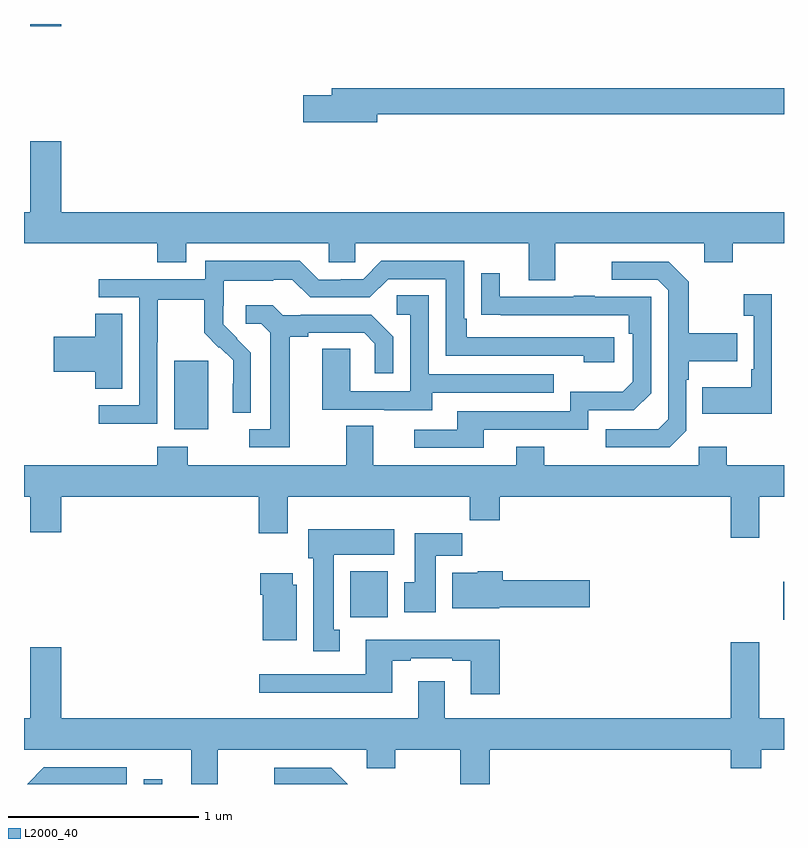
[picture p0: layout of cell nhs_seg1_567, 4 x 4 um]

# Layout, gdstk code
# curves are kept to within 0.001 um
import gdstk
lib = gdstk.Library(unit=1e-6, precision=1e-09)
def R(c, l, rs):  # rectangles x0, y0, x1, y1
    for r in rs: c.add(gdstk.rectangle(r[:2], r[2:], *l))
def P(c, l, *ps):  # polygons
    for p in ps: c.add(gdstk.Polygon(p, *l))
L2000_40 = (2000, 40)

nhs_seg1_567 = lib.new_cell('nhs_seg1_567')
R(nhs_seg1_567, L2000_40, [(141.631,570.199,141.727,570.223), (144.995,571.064,145,571.264), (142.718,571.076,142.915,571.318), (141.791,572.066,141.97,572.427), (141.032,574.188,141.196,574.199)])
P(nhs_seg1_567, L2000_40, [(142.858,573.724),(145,573.724),(145,573.86),(142.619,573.86),(142.619,573.824),(142.47,573.824),(142.47,573.682),(142.858,573.682)],
  [(143.797,573.044),(144.581,573.044),(144.581,572.945),(144.729,572.945),(144.729,573.044),(145,573.044),(145,573.208),(141.196,573.208),(141.196,573.583),(141.032,573.583),(141.032,573.208),(141,573.208),(141,573.044),(141.701,573.044),(141.701,572.945),(141.853,572.945),(141.853,573.044),(142.605,573.044),(142.605,572.946),(142.743,572.946),(142.743,573.044),(143.657,573.044),(143.657,572.85),(143.797,572.85)],
  [(141.702,572.524),(141.705,572.524),(141.705,572.748),(141.949,572.748),(141.949,572.573),(142.026,572.496),(142.029,572.499),(142.1,572.429),(142.1,572.306),(142.098,572.306),(142.098,572.152),(142.194,572.152),(142.194,572.47),(142.048,572.618),(142.048,572.715),(142.05,572.715),(142.05,572.849),(142.313,572.849),(142.313,572.853),(142.413,572.853),(142.506,572.76),(142.821,572.76),(142.917,572.856),(143.22,572.856),(143.22,572.454),(143.945,572.454),(143.945,572.42),(144.106,572.42),(144.106,572.55),(143.329,572.55),(143.329,572.647),(143.316,572.647),(143.316,572.952),(142.881,572.952),(142.785,572.856),(142.667,572.856),(142.667,572.853),(142.551,572.853),(142.451,572.953),(141.954,572.953),(141.954,572.856),(141.393,572.856),(141.393,572.76),(141.606,572.76),(141.606,572.193),(141.393,572.193),(141.393,572.095),(141.702,572.095)],
  [(144.486,572.058),(144.486,572.327),(144.499,572.327),(144.499,572.423),(144.755,572.423),(144.755,572.571),(144.499,572.571),(144.499,572.843),(144.393,572.949),(144.093,572.949),(144.093,572.853),(144.336,572.853),(144.39,572.799),(144.39,572.118),(144.339,572.067),(144.063,572.067),(144.063,571.971),(144.399,571.971)],
  [(143.419,572.064),(143.97,572.064),(143.97,572.166),(144.21,572.166),(144.3,572.256),(144.3,572.763),(144.005,572.763),(144.005,572.768),(143.893,572.768),(143.893,572.763),(143.503,572.763),(143.503,572.887),(143.407,572.887),(143.407,572.668),(144.184,572.667),(144.184,572.57),(144.204,572.57),(144.204,572.316),(144.151,572.263),(143.874,572.263),(143.874,572.16),(143.279,572.16),(143.279,572.064),(143.055,572.064),(143.055,571.968),(143.419,571.968)],
  [(144.936,572.776),(144.789,572.776),(144.789,572.663),(144.84,572.663),(144.84,572.383),(144.828,572.383),(144.828,572.287),(144.571,572.287),(144.571,572.147),(144.936,572.147)],
  [(143.149,572.259),(143.789,572.259),(143.789,572.355),(143.13,572.355),(143.13,572.771),(142.962,572.771),(142.962,572.67),(143.034,572.67),(143.034,572.265),(142.716,572.265),(142.716,572.489),(142.571,572.489),(142.571,572.169),(142.895,572.169),(142.895,572.165),(143.149,572.165)],
  [(142.399,572.552),(142.495,572.552),(142.495,572.574),(142.79,572.574),(142.847,572.517),(142.847,572.361),(142.944,572.361),(142.944,572.554),(142.828,572.67),(142.456,572.67),(142.456,572.667),(142.362,572.667),(142.31,572.719),(142.167,572.719),(142.167,572.622),(142.248,572.622),(142.295,572.575),(142.295,572.067),(142.185,572.067),(142.185,571.971),(142.399,571.971)],
  [(141.517,572.675),(141.374,572.675),(141.374,572.552),(141.156,572.552),(141.156,572.369),(141.374,572.369),(141.374,572.278),(141.517,572.278)],
  [(144.719,571.494),(144.871,571.494),(144.871,571.712),(145,571.712),(145,571.876),(144.699,571.876),(144.699,571.975),(144.552,571.975),(144.552,571.876),(143.739,571.876),(143.739,571.975),(143.591,571.975),(143.591,571.876),(142.837,571.876),(142.837,572.084),(142.697,572.084),(142.697,571.876),(141.861,571.876),(141.861,571.975),(141.701,571.975),(141.701,571.876),(141,571.876),(141,571.712),(141.032,571.712),(141.032,571.524),(141.196,571.524),(141.196,571.712),(142.235,571.712),(142.235,571.518),(142.387,571.518),(142.387,571.712),(143.347,571.712),(143.347,571.588),(143.504,571.588),(143.504,571.712),(144.719,571.712)],
  [(142.663,571.01),(142.63,571.01),(142.63,571.406),(142.948,571.406),(142.948,571.54),(142.496,571.54),(142.496,571.386),(142.523,571.386),(142.523,570.897),(142.663,570.897)],
  [(143.167,571.4),(143.306,571.4),(143.306,571.519),(143.057,571.519),(143.057,571.26),(143,571.26),(143,571.104),(143.167,571.104)],
  [(143.502,571.13),(143.977,571.13),(143.977,571.272),(143.519,571.272),(143.519,571.318),(143.388,571.318),(143.388,571.312),(143.255,571.312),(143.255,571.124),(143.502,571.124)],
  [(142.435,571.248),(142.414,571.248),(142.414,571.309),(142.244,571.309),(142.244,571.196),(142.256,571.196),(142.256,570.956),(142.435,570.956)],
  [(143.504,570.958),(142.799,570.958),(142.799,570.777),(142.239,570.777),(142.239,570.68),(142.939,570.68),(142.939,570.849),(143.035,570.849),(143.035,570.861),(143.255,570.861),(143.255,570.849),(143.351,570.849),(143.351,570.672),(143.504,570.672)],
  [(142.021,570.38),(142.805,570.38),(142.805,570.281),(142.953,570.281),(142.953,570.38),(143.297,570.38),(143.297,570.199),(143.45,570.199),(143.45,570.38),(144.719,570.38),(144.719,570.281),(144.879,570.281),(144.879,570.38),(145,570.38),(145,570.544),(144.871,570.544),(144.871,570.946),(144.719,570.946),(144.719,570.544),(143.215,570.544),(143.215,570.739),(143.075,570.739),(143.075,570.544),(141.196,570.544),(141.196,570.919),(141.032,570.919),(141.032,570.544),(141,570.544),(141,570.38),(141.881,570.38),(141.881,570.199),(142.021,570.199)],
  [(141.54,570.288),(141.105,570.288),(141.016,570.199),(141.54,570.199)],
  [(142.617,570.285),(142.317,570.285),(142.317,570.199),(142.703,570.199)])

lib.write_gds('nhs_seg1_567.gds')
